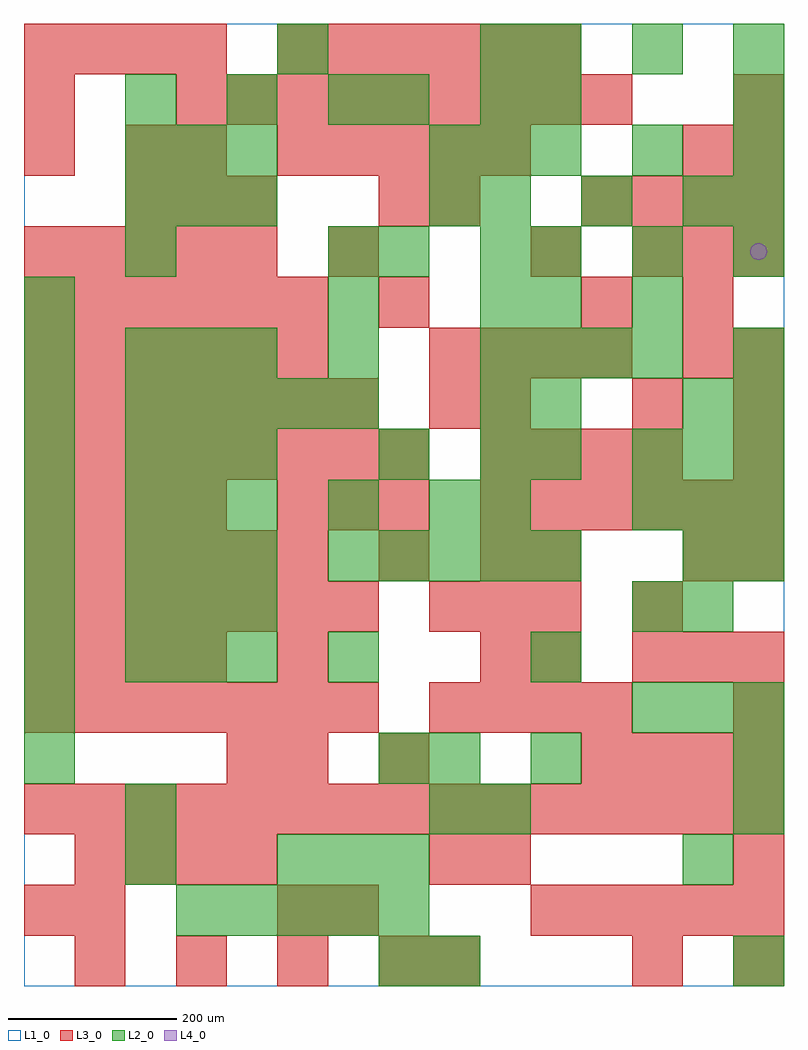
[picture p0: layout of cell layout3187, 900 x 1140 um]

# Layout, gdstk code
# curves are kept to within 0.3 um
import gdstk
lib = gdstk.Library(unit=1e-6, precision=1e-09)
def R(c, l, rs):  # rectangles x0, y0, x1, y1
    for r in rs: c.add(gdstk.rectangle(r[:2], r[2:], *l))
def A(c, l, x, y, w, h, nx, ny, dx, dy):  # array of equal rectangles
    R(c, l, [(x+i*dx, y+j*dy, x+i*dx+w, y+j*dy+h) for i in range(nx) for j in range(ny)])
def P(c, l, *ps):  # polygons
    for p in ps: c.add(gdstk.Polygon(p, *l))
L1_0 = (1, 0)
L2_0 = (2, 0)
L3_0 = (3, 0)
L4_0 = (4, 0)

layout3187 = lib.new_cell('layout3187')
R(layout3187, L1_0, [(0,0,900,1140)])
A(layout3187, L2_0, 180, 60, 60, 60, 5, 1, 60, 0)
A(layout3187, L2_0, 300, 120, 60, 60, 3, 1, 60, 0)
A(layout3187, L2_0, 0, 240, 60, 60, 1, 10, 0, 60)
A(layout3187, L2_0, 720, 300, 60, 60, 3, 2, 60, 240)
A(layout3187, L2_0, 120, 360, 60, 60, 3, 5, 60, 60)
A(layout3187, L2_0, 360, 360, 60, 60, 1, 3, 0, 180)
A(layout3187, L2_0, 360, 480, 60, 60, 5, 1, 60, 0)
A(layout3187, L2_0, 540, 540, 60, 60, 1, 3, 0, 60)
A(layout3187, L2_0, 720, 600, 60, 60, 3, 1, 60, 0)
A(layout3187, L2_0, 120, 660, 60, 60, 5, 1, 60, 0)
A(layout3187, L2_0, 120, 720, 60, 60, 3, 2, 60, 180)
A(layout3187, L2_0, 540, 720, 60, 60, 4, 1, 60, 0)
A(layout3187, L2_0, 600, 840, 60, 60, 3, 2, 120, 240)
A(layout3187, L2_0, 540, 900, 60, 60, 3, 1, 120, 0)
A(layout3187, L2_0, 840, 900, 60, 60, 1, 3, 0, 60)
A(layout3187, L2_0, 120, 960, 60, 60, 3, 1, 60, 0)
A(layout3187, L2_0, 480, 960, 60, 60, 3, 1, 60, 0)
A(layout3187, L2_0, 120, 1020, 60, 60, 3, 1, 120, 0)
R(layout3187, L2_0, [(420,0,480,60), (480,0,540,60), (840,0,900,60), (120,120,180,180), (780,120,840,180), (120,180,180,240), (480,180,540,240), (540,180,600,240), (840,180,900,240), (420,240,480,300), (480,240,540,300), (600,240,660,300), (840,240,900,300), (600,360,660,420), (720,420,780,480), (780,420,840,480), (780,480,840,540), (840,480,900,540), (480,540,540,600), (420,600,480,660), (600,600,660,660), (600,660,660,720), (780,660,840,720), (840,660,900,720), (840,720,900,780), (360,780,420,840), (540,780,600,840), (600,780,660,840), (720,780,780,840), (120,840,180,900), (360,840,420,900), (420,840,480,900), (540,840,600,900), (480,900,540,960), (720,960,780,1020), (420,1020,480,1080), (540,1020,600,1080), (600,1020,660,1080), (300,1080,360,1140), (540,1080,600,1140)])
A(layout3187, L3_0, 60, 0, 60, 60, 4, 1, 120, 0)
A(layout3187, L3_0, 600, 60, 60, 60, 5, 1, 60, 0)
A(layout3187, L3_0, 60, 120, 60, 60, 4, 1, 60, 0)
A(layout3187, L3_0, 840, 120, 60, 60, 1, 3, 0, 180)
A(layout3187, L3_0, 0, 180, 60, 60, 15, 1, 60, 0)
A(layout3187, L3_0, 660, 240, 60, 60, 4, 2, 60, 660)
A(layout3187, L3_0, 0, 300, 60, 60, 7, 2, 60, 120)
A(layout3187, L3_0, 480, 300, 60, 60, 4, 2, 60, 420)
A(layout3187, L3_0, 0, 360, 60, 60, 4, 2, 60, 180)
A(layout3187, L3_0, 720, 360, 60, 60, 3, 2, 60, 480)
A(layout3187, L3_0, 480, 420, 60, 60, 3, 1, 60, 0)
A(layout3187, L3_0, 0, 480, 60, 60, 6, 2, 60, 240)
A(layout3187, L3_0, 300, 540, 60, 60, 3, 1, 60, 0)
A(layout3187, L3_0, 540, 540, 60, 60, 6, 1, 60, 0)
A(layout3187, L3_0, 0, 600, 60, 60, 8, 1, 60, 0)
A(layout3187, L3_0, 540, 600, 60, 60, 4, 1, 60, 0)
A(layout3187, L3_0, 840, 600, 60, 60, 1, 3, 0, 60)
A(layout3187, L3_0, 0, 660, 60, 60, 7, 1, 60, 0)
A(layout3187, L3_0, 0, 780, 60, 60, 6, 1, 60, 0)
A(layout3187, L3_0, 0, 840, 60, 60, 5, 1, 60, 0)
A(layout3187, L3_0, 120, 900, 60, 60, 3, 1, 60, 0)
A(layout3187, L3_0, 300, 960, 60, 60, 5, 1, 60, 0)
A(layout3187, L3_0, 180, 1020, 60, 60, 9, 1, 60, 0)
A(layout3187, L3_0, 0, 1080, 60, 60, 4, 1, 60, 0)
A(layout3187, L3_0, 300, 1080, 60, 60, 6, 1, 60, 0)
R(layout3187, L3_0, [(480,0,540,60), (720,0,780,60), (840,0,900,60), (0,60,60,120), (60,60,120,120), (300,60,360,120), (360,60,420,120), (480,120,540,180), (540,120,600,180), (240,240,300,300), (300,240,360,300), (420,240,480,300), (300,360,360,420), (540,360,600,420), (600,360,660,420), (720,420,780,480), (420,480,480,540), (540,480,600,540), (600,480,660,540), (780,480,840,540), (480,660,540,720), (540,660,600,720), (720,660,780,720), (780,720,840,780), (420,780,480,840), (660,780,720,840), (780,780,840,840), (360,840,420,900), (600,840,660,900), (420,900,480,960), (480,900,540,960), (0,960,60,1020), (120,960,180,1020), (180,960,240,1020), (780,960,840,1020), (840,960,900,1020), (0,1020,60,1080), (840,1020,900,1080)])
P(layout3187, L4_0, [(880,870),(879.239,873.827),(877.071,877.071),(873.827,879.239),(870,880),(866.173,879.239),(862.929,877.071),(860.761,873.827),(860,870),(860.761,866.173),(862.929,862.929),(866.173,860.761),(870,860),(873.827,860.761),(877.071,862.929),(879.239,866.173)])

lib.write_gds('layout3187.gds')
